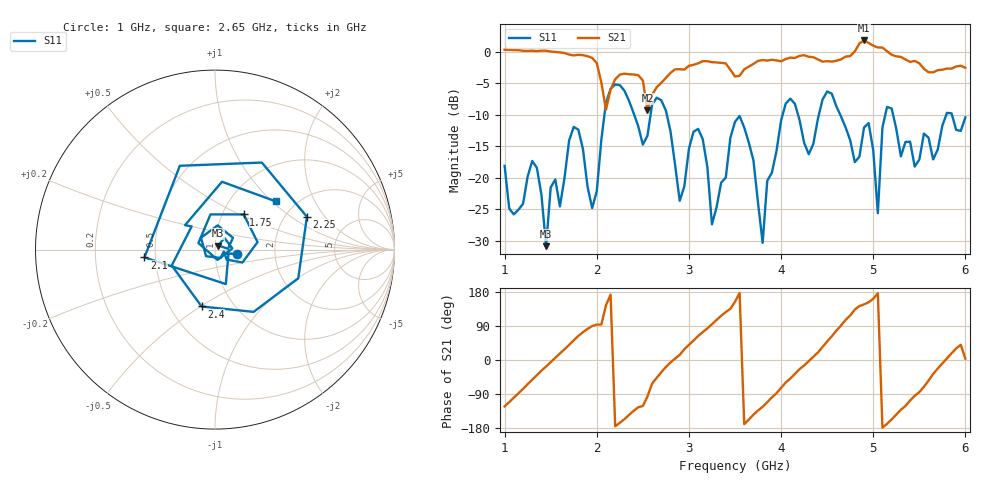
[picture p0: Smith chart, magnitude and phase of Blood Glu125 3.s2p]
! NanoVNA-App
! Date: 2024-03-21 00:09:23
! Start: 1GHz Stop: 6GHz Points: 101
! S-Parameter data: F S11 S21 S12 S22
# Hz S RI R 50
!	Frequency	S11_Real	S11_Imag	S21_Real	S21_Imag	S12_Real	S12_Imag	S22_Real	S22_Imag
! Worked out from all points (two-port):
!   101 points, 1 GHz to 6 GHz, reference 50 ohm
!   highest |S21| = 1.80 dB at 4.9 GHz (marker M1); lowest = -9.3 dB at 2.55 GHz (marker M2)
!   |S21| within 3 dB of the highest: start of sweep to 1.964 GHz; 4.652 GHz to 5.347 GHz (695.2 MHz wide, 13.9 % of centre)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
!   lowest |S11| = -30.9 dB at 1.45 GHz (marker M3), VSWR 1.06, Z = 51.7 + j2.34 ohm
!   |S11| at or under -10 dB: start of sweep to 2.083 GHz; 2.76 GHz to 4.017 GHz (1.257 GHz wide, 37.1 % of centre); 5.215 GHz to 5.793 GHz (577.2 MHz wide, 10.5 % of centre)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
!   S12 and S22 are empty: the file has one direction only
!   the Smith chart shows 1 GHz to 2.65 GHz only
!   S11 on the Smith chart (normalised r, x): 1 GHz: 1.28, -0.06; 1.75 GHz: 1.26, +0.53; 2.1 GHz: 0.43, -0.05; 2.25 GHz: 2.59, +1.35; 2.4 GHz: 0.71, -0.51; 2.65 GHz: 1.59, +1.05
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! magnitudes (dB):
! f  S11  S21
! 1 GHz  -18.1  0.3
! 1.45 GHz  -30.9  0.2
! 1.75 GHz  -11.9  -0.6
! 1.85 GHz  -15.4  -0.5
! 1.95 GHz  -24.8  -1.0
! 2.1 GHz  -8.1  -9.2
! 2.25 GHz  -5.3  -3.6
! 2.4 GHz  -9.7  -3.6
! 2.55 GHz  -13.3  -9.3
! 2.65 GHz  -7.3  -5.6
! 2.7 GHz  -7.7  -4.9
! 2.9 GHz  -23.7  -2.8
! 3.15 GHz  -13.9  -1.5
! 3.25 GHz  -27.4  -1.6
! 3.5 GHz  -11.1  -3.9
! 3.8 GHz  -30.3  -1.3
! 4.05 GHz  -8.2  -1.1
! 4.35 GHz  -14.6  -0.9
! 4.9 GHz  -12.0  1.8
! 5.05 GHz  -25.6  0.7
! 5.2 GHz  -9.0  -0.5
! 6 GHz  -10.4  -2.5
